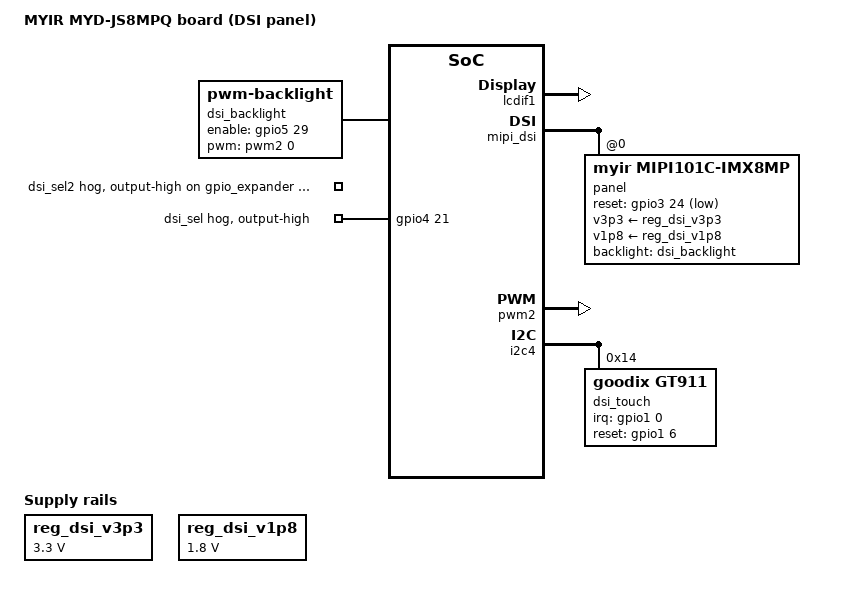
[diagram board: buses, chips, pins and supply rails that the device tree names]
// SPDX-License-Identifier: (GPL-2.0+ OR MIT)
/*
 * Copyright 2024 MYIR Technology Co., Ltd.
 *
 * MYD-JS8MPQ with the MIPI DSI panel (MYIR mipi101c) instead of LVDS.
 *
 * Display path: lcdif1 -> Samsung DSIM -> MYIR MIPI101C panel.
 * The panel uses 1200x1920 sync-pulse video mode at 165.2 MHz.
 *
 * DSI mux selection (both HIGH, opposite of LVDS1):
 *   - core module SEL2 = PCA9555 EIO_P12 (gpio_expander line 10)
 *   - baseboard select = GPIO4_IO21 (SAI2_RXFS pad)
 * Panel reset: XSPI_DATA4 = SAI5_RXD3/GPIO3_IO24, controlled by the panel.
 * Backlight: PWM2 + enable GPIO5_IO29 (same FPC pins as LVDS1).
 * Touch: Goodix GT911 @0x14 on I2C4 (INT=GPIO1_IO00, RST=GPIO1_IO06).
 */

#include "myd-js8mpq.dts"

/ {
	model = "MYIR MYD-JS8MPQ board (DSI panel)";

	/* DSI panel backlight (PWM2 dimming + enable GPIO5_IO29). */
	dsi_backlight: backlight-dsi {
		compatible = "pwm-backlight";
		pwms = <&pwm2 0 100000 0>;
		brightness-levels = <0 8 16 32 48 64 80 96 112 128
				     144 160 176 192 208 224 240 255>;
		default-brightness-level = <14>;
		enable-gpios = <&gpio5 29 GPIO_ACTIVE_HIGH>;
	};

	/* Panel supplies: needed by panel-myir-mipi101c driver probe.
	 * Always-on regulators. */
	reg_dsi_v3p3: regulator-dsi-v3p3 {
		compatible = "regulator-fixed";
		regulator-name = "dsi-v3p3";
		regulator-min-microvolt = <3300000>;
		regulator-max-microvolt = <3300000>;
		regulator-always-on;
		regulator-boot-on;
	};

	reg_dsi_v1p8: regulator-dsi-v1p8 {
		compatible = "regulator-fixed";
		regulator-name = "dsi-v1p8";
		regulator-min-microvolt = <1800000>;
		regulator-max-microvolt = <1800000>;
		regulator-always-on;
		regulator-boot-on;
	};

	/* HDMI audio machine device is not used by the DSI-only variant. */
	sound-hdmi {
		status = "disabled";
	};
};

/* ========== Disable LVDS display path ========== */
&lcdif2 {
	status = "disabled";
};

&ldb {
	status = "disabled";
};

&ldb_lvds_ch0 {
	/delete-property/ remote-endpoint;
};

&panel_in_lvds {
	/delete-property/ remote-endpoint;
};

&panel_lvds {
	status = "disabled";
};

&pwm1 {
	status = "disabled";
};

&lvds_backlight {
	status = "disabled";
};

/* Remove LVDS0 baseboard path select hog. */
&gpio1 {
	/delete-node/ lvds0-sel-hog;
};

/* DSI B/DSI1 panel reset pin: XSPI_DATA4 = SAI5_RXD3/GPIO3_IO24. */
&gpio3 {
	pinctrl-names = "default";
	pinctrl-0 = <&pinctrl_dsi_panel_reset>;
};


/* ========== Disable the complete HDMI video/audio chain ========== */
&hdmi_blk_ctrl {
	status = "disabled";
};

&irqsteer_hdmi {
	status = "disabled";
};

&hdmi_pavi {
	status = "disabled";
};

&hdmiphy {
	status = "disabled";
};

&hdmi {
	status = "disabled";
};

&lcdif3 {
	status = "disabled";
};

&aud2htx {
	status = "disabled";
};

/* ========== Enable DSI host with panel ========== */
&lcdif1 {
	/* Generate the 165.2 MHz pixel clock exactly from 991.2 MHz / 6. */
	assigned-clocks = <&clk IMX8MP_VIDEO_PLL1>,
			  <&clk IMX8MP_CLK_MEDIA_DISP1_PIX>,
			  <&clk IMX8MP_CLK_MEDIA_AXI>,
			  <&clk IMX8MP_CLK_MEDIA_APB>;
	assigned-clock-parents = <0>,
				 <&clk IMX8MP_VIDEO_PLL1_OUT>,
				 <&clk IMX8MP_SYS_PLL2_1000M>,
				 <&clk IMX8MP_SYS_PLL1_800M>;
	assigned-clock-rates = <991200000>, <165200000>,
			       <500000000>, <200000000>;
	status = "okay";
};

&mipi_dsi {
	status = "okay";

	panel@0 {
		compatible = "myir,mipi101c-imx8mp";
		reg = <0>;
		dsi-lanes = <4>;
		/* 0: burst, 1: sync-event, 2: sync-pulse. */
		video-mode = <2>;
		panel-width-mm = <135>;
		panel-height-mm = <216>;
		backlight = <&dsi_backlight>;
		reset-gpios = <&gpio3 24 GPIO_ACTIVE_LOW>;
		v3p3-supply = <&reg_dsi_v3p3>;
		v1p8-supply = <&reg_dsi_v1p8>;

		/* Standard physical size used by the DT panel-timing parser. */
		width-mm = <135>;
		height-mm = <216>;

		/*
		 * Keep the 260-pixel horizontal blanking total while providing
		 * enough HSA and HBP space for sync-pulse packet overhead.
		 */
		panel-timing {
			clock-frequency = <165200000>;
			hactive = <1200>;
			hfront-porch = <228>;
			hsync-len = <12>;
			hback-porch = <20>;
			vactive = <1920>;
			vfront-porch = <3>;
			vsync-len = <1>;
			vback-porch = <5>;
			hsync-active = <0>;
			vsync-active = <0>;
		};
	};
};

/* ========== DSI mux selection (both HIGH to select DSI path) ========== */

/* Core-module SEL2 = EIO_P12 = GPIO line 10. HIGH = DSI. */
&gpio_expander {
	dsi-sel2-hog {
		gpio-hog;
		gpios = <10 GPIO_ACTIVE_HIGH>;
		output-high;
		line-name = "dsi_sel2";
	};
};

/* Baseboard select = GPIO4_IO21. HIGH = DSI. */
&gpio4 {
	pinctrl-names = "default";
	pinctrl-0 = <&pinctrl_wdt_en &pinctrl_dsi_sel>;

	dsi-sel-hog {
		gpio-hog;
		gpios = <21 GPIO_ACTIVE_HIGH>;
		output-high;
		line-name = "dsi_sel";
	};
};

/* ========== Backlight: PWM2 dimming + GPIO5_IO29 enable ========== */
&pwm2 {
	pinctrl-names = "default";
	pinctrl-0 = <&pinctrl_pwm2>;
	status = "okay";
};

&gpio5 {
	pinctrl-names = "default";
	pinctrl-0 = <&pinctrl_dsi_bl_en>;
};

/* ========== Touch: Goodix GT911 @0x14 on I2C4 ========== */
&lvds_touch {
	status = "disabled";
};

&i2c4 {
	dsi_touch: touchscreen@14 {
		compatible = "goodix,gt911";
		reg = <0x14>;
		pinctrl-names = "default";
		pinctrl-0 = <&pinctrl_touch_dsi>;
		interrupt-parent = <&gpio1>;
		interrupts = <0 IRQ_TYPE_EDGE_FALLING>;
		irq-gpios = <&gpio1 0 GPIO_ACTIVE_HIGH>;
		reset-gpios = <&gpio1 6 GPIO_ACTIVE_HIGH>;
		esd-recovery-timeout-ms = <2000>;	/* match i.MX95 MYD same-panel ref */
		touchscreen-size-x = <1200>;
		touchscreen-size-y = <1920>;
	};
};

/* ========== Pinmux additions ========== */
&iomuxc {
	pinctrl_dsi_panel_reset: dsipanelresetgrp {
		fsl,pins = <
			MX8MP_IOMUXC_SAI5_RXD3__GPIO3_IO24	0x140
		>;
	};

	pinctrl_pwm2: pwm2grp {
		fsl,pins = <
			MX8MP_IOMUXC_GPIO1_IO11__PWM2_OUT	0x116
		>;
	};

	pinctrl_dsi_sel: dsiselgrp {
		fsl,pins = <
			MX8MP_IOMUXC_SAI2_RXFS__GPIO4_IO21	0x140
		>;
	};

	pinctrl_dsi_bl_en: dsiblengrp {
		fsl,pins = <
			MX8MP_IOMUXC_UART4_TXD__GPIO5_IO29	0x140
		>;
	};

	pinctrl_touch_dsi: touchdsigrp {
		fsl,pins = <
			MX8MP_IOMUXC_GPIO1_IO00__GPIO1_IO00	0x1c0
			MX8MP_IOMUXC_GPIO1_IO06__GPIO1_IO06	0x1c0
		>;
	};
};
